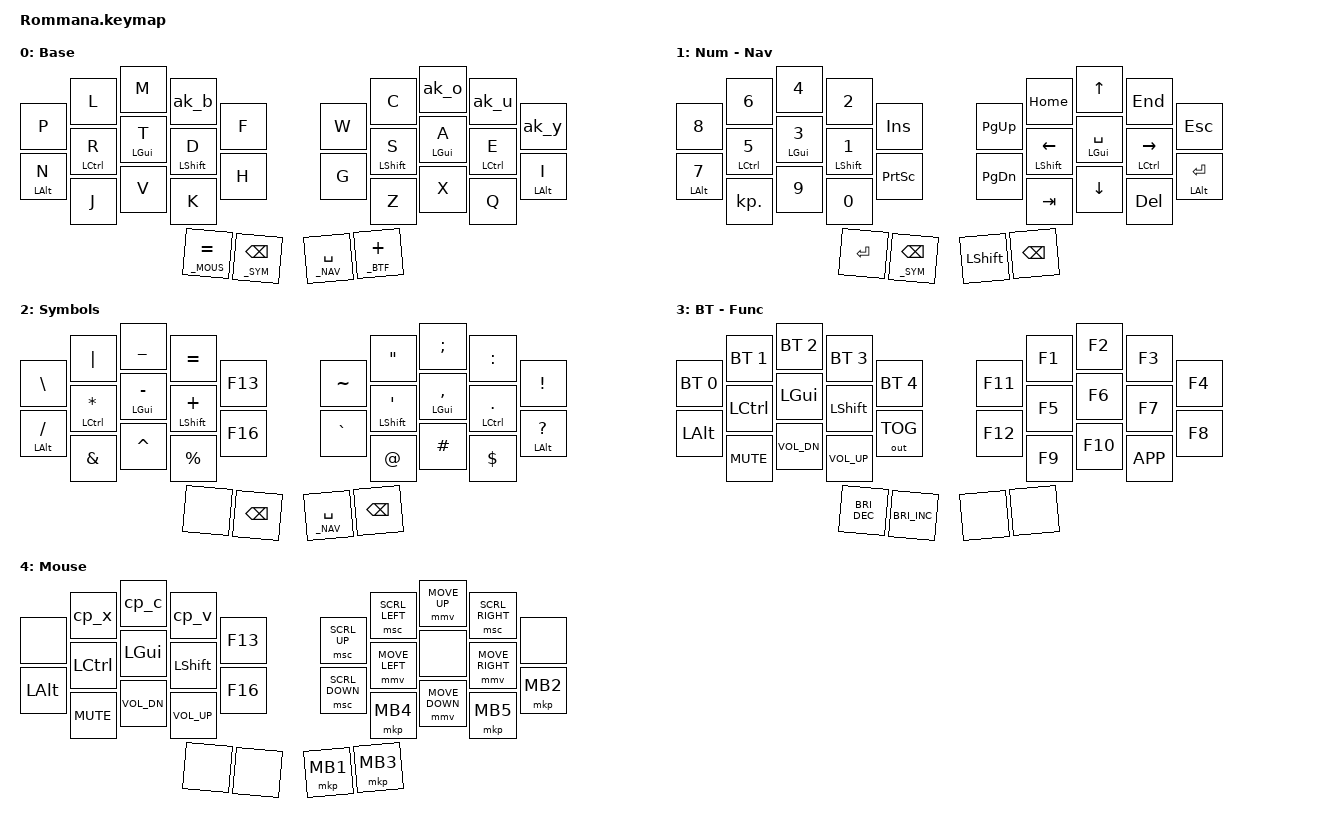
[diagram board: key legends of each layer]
/*
 * Copyright (c) 2021 The ZMK Contributors
 *
 * SPDX-License-Identifier: MIT
 */

#include <behaviors.dtsi>
#include <dt-bindings/zmk/keys.h>
#include <dt-bindings/zmk/bt.h>
#include <dt-bindings/zmk/outputs.h>

#define ZMK_POINTING_DEFAULT_MOVE_VAL 1500  // default: 600
#define ZMK_POINTING_DEFAULT_SCRL_VAL 20    // default: 10
#include <dt-bindings/zmk/pointing.h>
#include "keypos_30keys.h"
#include <dt-bindings/zmk/mouse.h>

#define _BASE    0
#define _NAV     1
#define _SYM     2
#define _BTF     3
#define _MOUS    4

/ {
// ------------------------- MACROS --------------------------------
    macros {
        // muc_the: macro_uc_the {
        //     compatible = "zmk,behavior-macro";
        //     #binding-cells = <0>;
        //     wait-ms = <0>;
        //     tap-ms = <5>;
        //     bindings
        //         = <&kp LS(T)>
        //         , <&kp H>
        //         , <&kp E>
        //         ;
        // };

        // mlc_the: macro_lc_the {
        //     compatible = "zmk,behavior-macro";
        //     #binding-cells = <0>;
        //     wait-ms = <0>;
        //     tap-ms = <5>;
        //     bindings
        //         = <&kp T>
        //         , <&kp H>
        //         , <&kp E>
        //         ;
        // };

        // muc_you: macro_uc_you {
        //     compatible = "zmk,behavior-macro";
        //     #binding-cells = <0>;
        //     wait-ms = <0>;
        //     tap-ms = <5>;
        //     bindings
        //         = <&kp LS(Y)>
        //         , <&kp O>
        //         , <&kp U>
        //         ;
        // };

        // mlc_ou: macro_ou {
        //     compatible = "zmk,behavior-macro";
        //     #binding-cells = <0>;
        //     wait-ms = <0>;
        //     tap-ms = <5>;
        //     bindings
        //         = <&kp O>
        //         , <&kp U>
        //         ;
        // };

        mlc_qu: macro_lc_qu {
            compatible = "zmk,behavior-macro";
            #binding-cells = <0>;
            wait-ms = <0>;
            tap-ms = <5>;
            bindings
                = <&kp Q>
                , <&kp U>
                ;
        };

        // mlc_qua: macro_lc_qua {
        //     compatible = "zmk,behavior-macro";
        //     #binding-cells = <0>;
        //     wait-ms = <0>;
        //     tap-ms = <5>;
        //     bindings
        //         = <&kp Q>
        //         , <&kp U>
        //         , <&kp A>
        //         ;
        // };

        // mlc_th: macro_lc_th {
        //     compatible = "zmk,behavior-macro";
        //     #binding-cells = <0>;
        //     wait-ms = <0>;
        //     tap-ms = <5>;
        //     bindings
        //         = <&kp T>
        //         , <&kp H>
        //         ;
        // };

        // mlc_mpl: macro_lc_mpl {
        //     compatible = "zmk,behavior-macro";
        //     #binding-cells = <0>;
        //     wait-ms = <0>;
        //     tap-ms = <5>;
        //     bindings
        //         = <&kp M>
        //         , <&kp P>
        //         , <&kp L>
        //         ;
        // };
    };

    combos {
        compatible = "zmk,combos";
// ------------------------- LAYER COMBOS --------------------------------
        // combo_BOOT {
        //     timeout-ms = <50>;
        //     key-positions = <LMC LTC>;
        //     bindings = <&bootloader>;
        //     layers = <_BTF>;
        // };

        combo_BTF {
            timeout-ms = <50>;
            key-positions = <LHI RHI>;
            bindings = <&mo _BTF>;
            layers = <_BASE _SYM _NAV>;
        };

        // combo_BTF2 {
        //     timeout-ms = <50>;
        //     key-positions = <LHI LHO>;
        //     bindings = <&mo _BTF>;
        //     layers = <_BASE _SYM _NAV>;
        // };

        // combo_BTF3 {
        //     timeout-ms = <50>;
        //     key-positions = <RHO RHI>;
        //     bindings = <&mo _BTF>;
        //     layers = <_BASE _SYM _NAV>;
        // };

        combo_BTCLR {
            timeout-ms = <50>;
            key-positions = <LBR LBM LBI>;
            bindings = <&bt BT_CLR>;
            layers = <_BTF>;
        };

        // combo_NAVR {
        //     timeout-ms = <50>;
        //     require-prior-idle-ms = <300>;
        //     key-positions = <RMI RMM RMR>;
        //     bindings = <&tog _NAV>;
        //     layers = <_BASE _SYM _NAV>;
        // };

        // combo_NAVL {
        //     timeout-ms = <50>;
        //     require-prior-idle-ms = <300>;
        //     key-positions = <LMI LMM LMR>;
        //     bindings = <&tog _NAV>;
        //     layers = <_BASE _SYM _NAV>;
        // };

// ------------------------- MODS COMBOS --------------------------------
        combo_CAPS {
            timeout-ms = <50>;
            key-positions = <LTI RTI>;
            bindings = <&caps_word>;
            require-prior-idle-ms = <200>;
            layers = <_BASE>;
        };

// ------------------------- CHARACTER COMBOS --------------------------------
        // combo_MPL {
        //     timeout-ms = <200>;
        //     key-positions = <LTP LTR LTM>;
        //     bindings = <&mlc_mpl>;
        //     layers = <_BASE>;
        // };

        // combo_OU {
        //     timeout-ms = <250>;
        //     key-positions = <RTM RTR>;
        //     bindings = <&mlc_ou>;
        //     layers = <_BASE>;
        // };

        combo_QU {
            timeout-ms = <300>;
            key-positions =<RBM RBI>;
            bindings = <&mlc_qu>;
            layers = <_BASE>;
        };

        // combo_QUA {
        //     timeout-ms = <200>;
        //     key-positions =<RBM RBI RBR>;
        //     bindings = <&mlc_qua>;
        //     layers = <_BASE>;
        // };

        // combo_TH {
        //     timeout-ms = <185>;
        //     key-positions =<LMM LMI>;
        //     bindings = <&mlc_th>;
        //     layers = <_BASE>;
        // };

        // combo_ING {
        //     timeout-ms = <100>;
        //     key-positions = <RMI RMM RMR>;
        //     bindings = <&mlc_ing>;
        //     layers = <_BASE>;
        // };

// ------------------------- SYMBOL COMBOS --------------------------------
        combo_LPAR {
            timeout-ms = <50>;
            require-prior-idle-ms = <200>;
            key-positions = <LHI LMI>;
            bindings = <&kp LPAR>;
            layers = <_BASE _SYM>;
        };

        combo_RPAR {
            timeout-ms = <50>;
            require-prior-idle-ms = <200>;
            key-positions = <RMI RHI>;
            bindings = <&kp RPAR>;
            layers = <_BASE _SYM>;
        };

        combo_LBRC {
            timeout-ms = <50>;
            require-prior-idle-ms = <200>;
            key-positions = <LMR LHI>;
            bindings = <&kp LBRC>;
            layers = <_BASE _SYM>;
        };

        combo_RBRC {
            timeout-ms = <50>;
            require-prior-idle-ms = <200>;
            key-positions = <RHI RMR>;
            bindings = <&kp RBRC>;
            layers = <_BASE _SYM>;
        };

        combo_LBKT {
            timeout-ms = <50>;
            require-prior-idle-ms = <200>;
            key-positions = <LMM LHI>;
            bindings = <&kp LBKT>;
            layers = <_BASE _SYM>;
        };

        combo_RBKT {
            timeout-ms = <50>;
            require-prior-idle-ms = <200>;
            key-positions = <RHI RMM>;
            bindings = <&kp RBKT>;
            layers = <_BASE _SYM>;
        };

        combo_GT {
            timeout-ms = <50>;
            require-prior-idle-ms = <200>;
            key-positions = <RMP RHI>;
            bindings = <&kp GT>;
            layers = <_BASE _SYM>;
        };

        combo_LT {
            timeout-ms = <50>;
            require-prior-idle-ms = <200>;
            key-positions = <LMP LHI>;
            bindings = <&kp LT>;
            layers = <_BASE _SYM>;
        };

// ------------------------- UTILITY COMBOS --------------------------------
        combo_UNLCK {
            timeout-ms = <40>;
            key-positions = <LMC RMC>;
            bindings = <&studio_unlock>;
            layers = <_BASE>;
            require-prior-idle-ms = <200>;
        };
        
    };

    behaviors {
// ----------------------- ADAPTIVE-KEYS ------------------------------- 
        ak_d: ak_d {
            compatible = "zmk,behavior-adaptive-key";
            #binding-cells = <0>;
            bindings = <&kp D>;

            akt_th { trigger-keys = <T>; max-prior-idle-ms = <250>; bindings = <&kp H>; };
            akt_bh { trigger-keys = <B>; max-prior-idle-ms = <300>; bindings = <&kp H>; };
            akt_ph { trigger-keys = <P>; max-prior-idle-ms = <300>; bindings = <&kp H>; };
            akt_ch { trigger-keys = <C>; max-prior-idle-ms = <300>; bindings = <&kp H>; };
            akt_wh { trigger-keys = <W>; max-prior-idle-ms = <300>; bindings = <&kp H>; };
            akt_sh { trigger-keys = <S>; max-prior-idle-ms = <300>; bindings = <&kp H>; };
            akt_gh { trigger-keys = <G>; max-prior-idle-ms = <300>; bindings = <&kp H>; };
        };

        ak_b: ak_b {
            compatible = "zmk,behavior-adaptive-key";
            #binding-cells = <0>;
            bindings = <&kp B>;

            akt_sc { trigger-keys = <S>; max-prior-idle-ms = <300>; bindings = <&kp C>; };
            akt_pr { trigger-keys = <P>; max-prior-idle-ms = <300>; bindings = <&kp R>; };
            akt_tr { trigger-keys = <T>; max-prior-idle-ms = <300>; bindings = <&kp R>; };
        };

        ak_r: ak_r {
            compatible = "zmk,behavior-adaptive-key";
            #binding-cells = <0>;
            bindings = <&kp R>;

            akt_ng { trigger-keys = <N>; max-prior-idle-ms = <300>; bindings = <&kp G>; };
        };

        ak_o: ak_o {
            compatible = "zmk,behavior-adaptive-key";
            #binding-cells = <0>;
            bindings = <&kp O>;

            akt_uo { trigger-keys = <U>; max-prior-idle-ms = <125>; bindings = <&kp 0>; };
        };

        ak_u: ak_u {
            compatible = "zmk,behavior-adaptive-key";
            #binding-cells = <0>;
            bindings = <&kp U>;

            akt_you { trigger-keys = <Y>; max-prior-idle-ms = <300>; bindings = <&kp O &kp U>; };
        };

        ak_y: ak_y {
            compatible = "zmk,behavior-adaptive-key";
            #binding-cells = <0>;
            bindings = <&kp Y>;

            akt_ue { trigger-keys = <U>; max-prior-idle-ms = <300>; bindings = <&kp E>; };
        };

        // ak_z: ak_z {
        //     compatible = "zmk,behavior-adaptive-key";
        //     #binding-cells = <0>;
        //     bindings = <&kp Z>;

        //     akt_tv { trigger-keys = <T>; max-prior-idle-ms = <300>; bindings = <&kp V>; };
        // };

// ------------------------- TAP-DANCES --------------------------------
        cp_c: cp_c {
            compatible = "zmk,behavior-tap-dance";
            #binding-cells = <0>;
            tapping-term-ms = <400>;
            bindings = <&kp LC(C)>, <&kp LG(C)>;
        };

        cp_v: cp_v {
            compatible = "zmk,behavior-tap-dance";
            #binding-cells = <0>;
            tapping-term-ms = <400>;
            bindings = <&kp LC(V)>, <&kp LG(V)>;
        };

        cp_x: cp_x {
            compatible = "zmk,behavior-tap-dance";
            #binding-cells = <0>;
            tapping-term-ms = <400>;
            bindings = <&kp LC(X)>, <&kp LG(X)>;
        };

// ------------------------- HOLD-TAPS --------------------------------
        /* left-hand HRMs */
        hml: hrm_left {
            compatible = "zmk,behavior-hold-tap";
            #binding-cells = <2>;
            flavor = "balanced";
            tapping-term-ms = <300>;
            quick-tap-ms = <170>;                // repeat on tap-into-hold
            require-prior-idle-ms = <300>;
            bindings = <&kp>, <&kp>;
            hold-trigger-key-positions = <KEYS_R THUMBS>;
            hold-trigger-on-release;             // delay positional check until key-release
        };

        /* right-hand HRMs */
        hmr: hrm_right {
            compatible = "zmk,behavior-hold-tap";
            #binding-cells = <2>;
            flavor = "balanced";
            tapping-term-ms = <300>;
            quick-tap-ms = <170>;                // repeat on tap-into-hold
            require-prior-idle-ms = <300>;
            bindings = <&kp>, <&kp>;
            hold-trigger-key-positions = <KEYS_L THUMBS>;
            hold-trigger-on-release;             // delay positional check until key-release
        };

        rml: akr_left {
            compatible = "zmk,behavior-hold-tap";
            #binding-cells = <2>;
            flavor = "balanced";
            tapping-term-ms = <300>;
            quick-tap-ms = <170>;                // repeat on tap-into-hold
            require-prior-idle-ms = <250>;
            bindings = <&kp>, <&ak_r>;
            hold-trigger-key-positions = <KEYS_R THUMBS>;
            hold-trigger-on-release;             // delay positional check until key-release
        };

        asl: aks_left {
            compatible = "zmk,behavior-hold-tap";
            #binding-cells = <2>;
            flavor = "balanced";
            tapping-term-ms = <250>;
            quick-tap-ms = <170>;                // repeat on tap-into-hold
            require-prior-idle-ms = <120>;
            bindings = <&kp>, <&ak_d>;
            hold-trigger-key-positions = <KEYS_R THUMBS>;
            hold-trigger-on-release;             // delay positional check until key-release
        };

        hsl: hrs_left {
            compatible = "zmk,behavior-hold-tap";
            #binding-cells = <2>;
            flavor = "balanced";
            tapping-term-ms = <250>;
            quick-tap-ms = <170>;                // repeat on tap-into-hold
            require-prior-idle-ms = <120>;
            bindings = <&kp>, <&kp>;
            hold-trigger-key-positions = <KEYS_R THUMBS>;
            hold-trigger-on-release;             // delay positional check until key-release
        };

        hsr: hrs_right {
            compatible = "zmk,behavior-hold-tap";
            #binding-cells = <2>;
            flavor = "balanced";
            tapping-term-ms = <250>;
            quick-tap-ms = <170>;                // repeat on tap-into-hold
            require-prior-idle-ms = <120>;
            bindings = <&kp>, <&kp>;
            hold-trigger-key-positions = <KEYS_L THUMBS>;
            hold-trigger-on-release;             // delay positional check until key-release
        };

        bst: backspace-tap {
            compatible = "zmk,behavior-hold-tap";
            #binding-cells = <2>;
            flavor = "balanced";
            tapping-term-ms = <300>;
            quick-tap-ms = <170>;
            //require-prior-idle-ms = <100>;
            bindings = <&mo>, <&kp>;
        };

        spt: space-tap {
            compatible = "zmk,behavior-hold-tap";
            #binding-cells = <2>;
            flavor = "balanced";
            tapping-term-ms = <300>;
            quick-tap-ms = <170>;
            // require-prior-idle-ms = <120>;
            bindings = <&mo>, <&kp>;
        };

// ------------------------- MOD-MORPHS --------------------------------
        // mm_you: mm_you {
        //     compatible = "zmk,behavior-mod-morph";
        //     #binding-cells = <0>;
        //     bindings = <&mlc_you>, <&muc_you>;
        //     mods = <(MOD_LSFT)>;
        // };

        // mm_the: mm_the {
        //     compatible = "zmk,behavior-mod-morph";
        //     #binding-cells = <0>;
        //     bindings = <&mlc_the>, <&muc_the>;
        //     mods = <(MOD_LSFT)>;
        // };
    };

    keymap {
        compatible = "zmk,keymap";

                base_layer {
                    display-name = "Base";
// -------------------------------    -------------------------------
// |  P  |  L  |  M  |  B  |  F  |    |  W  |  C  |  O  |  U  |  Y  |
// |  N  |  R  |  T  |  D  |  H  |    |  G  |  S  |  A  |  E  |  I  |
//       |  J  |  V  |  K  |                |  Z  |  X  |  Q  |
//        | _NAV(=) | _SYM(BSPC) |    | _NAV(SPC) | _SYM(+) |
                        bindings = <
   &kp P        &kp L        &kp M       &ak_b        &kp F           &kp W  &kp C        &ak_o       &ak_u        &ak_y
   &hml LALT N  &rml LCTRL R &hml LGUI T &asl LSHFT D &kp H           &kp G  &hsr LSHFT S &hmr LGUI A &hmr LCTRL E &hmr LALT I 
                &kp J        &kp V       &kp K                               &kp Z        &kp X       &kp Q
                                     &bst _MOUS EQUAL  &bst _SYM BSPC  &spt _NAV SPACE  &spt _BTF PLUS
                        >;
                };

                nav_layer {
                    display-name = "Num - Nav";
// -------------------------------    ---------------------------------
// |  8  |  6  |  4  |  2  | INS |    | pUP | HOME |  UP | END  | ESC |
// |  7  |  5  |  3  |  1  | PSC |    | pDN | LEFT | SPC | RGHT | RET |
//       | . , |  9  |  0  |                | TAB  |  DN | DEL  |
//                  | RET | BSPC |    | LSFT | BSPC |
                        bindings = <
   &kp N8        &kp N6        &kp N4       &kp N2        &kp INS         &kp PG_UP  &kp HOME        &kp UP          &kp END          &kp ESC
   &hml LALT N7  &hml LCTRL N5 &hml LGUI N3 &hsl LSHFT N1 &kp PSCRN       &kp PG_DN  &hsr LSHFT LEFT &hmr LGUI SPACE &hmr LCTRL RIGHT &hmr LALT RET
                 &kp KP_DOT    &kp N9       &kp N0                                   &kp TAB         &kp DOWN        &kp DEL
                                                &kp RET   &bst _SYM BSPC  &kp LSHFT  &kp BSPC
                        >;
                };
                
                sym_layer {
                    display-name = "Symbols";
// -------------------------------    -------------------------------
// |  \  |  |  |  _  |  =  | F13 |    |  ~  |  "  |  ;  |  :  |  !  |
// |  /  |  *  |  -  |  +  | F16 |    |  `  |  '  |  ,  |  .  |  ?  |
//       |  &  |  ^  |  %  |                |  @  |  #  |  $  |
//                  |     | BSPC |    | SPC | BSPC |
                        bindings = <
   &kp BSLH        &kp PIPE        &kp UNDER       &kp EQUAL       &kp F13       &kp TILDE &kp DQT        &kp SEMI        &kp COLON      &kp EXCL
   &hml LALT SLASH &hml LCTRL STAR &hml LGUI MINUS &hsl LSHFT PLUS &kp F16       &kp GRAVE &hsr LSHFT SQT &hmr LGUI COMMA &hmr LCTRL DOT &hmr LALT QMARK
                   &kp AMPS        &kp CARET       &kp PRCNT                               &kp AT         &kp HASH        &kp DLLR
                                                          &none    &kp BSPC      &spt _NAV SPACE  &kp BSPC
                        >;
                };

                btf_layer {
                    display-name = "BT - Func";
// -------------------------------    -----------------------------
// | BT1 | BT2 | BT3 | BT4 | BT5 |    | F11 | F1 | F2  | F3  | F4 |
// | ALT | CTL | GUI | SFT | USB |    | F12 | F5 | F6  | F7  | F8 |
//       |  v. |  v- |  v+ |                | F9 | F10 | APP |
//                   | BR- | BR+ |    |     |     |
                        bindings = <
   &bt BT_SEL 0 &bt BT_SEL 1 &bt BT_SEL 2 &bt BT_SEL 3 &bt BT_SEL 4   &kp F11 &kp F1  &kp F2  &kp F3    &kp F4
   &kp LALT     &kp LCTRL    &kp LGUI     &kp LSHFT    &out OUT_TOG   &kp F12 &kp F5  &kp F6  &kp F7    &kp F8
                &kp C_MUTE   &kp C_VOL_DN &kp C_VOL_UP                        &kp F9  &kp F10 &kp K_APP
                                        &kp C_BRI_DEC &kp C_BRI_INC   &none   &none
                        >;
                };

                mouse_layer {
                    display-name = "Mouse";
// -------------------------------    ---------------------------------------
// |     | cut | cpy | pst | F13 |    | SCup | SCleft |  Mup  | SCrght |     |
// | ALT | CTL | GUI | SFT | F16 |    | SCdn | Mleft  |       | Mrght  | B2  |
//       |  v. |  v- |  v+ |                 |   B4   | Mdown |   B5   |
//                   |     |     |    |  B1  | B3 |
                        bindings = <
   &none    &cp_x      &cp_c        &cp_v        &kp F13   &msc SCRL_UP   &msc SCRL_LEFT &mmv MOVE_UP   &msc SCRL_RIGHT &none
   &kp LALT &kp LCTRL  &kp LGUI     &kp LSHIFT   &kp F16   &msc SCRL_DOWN &mmv MOVE_LEFT &none          &mmv MOVE_RIGHT &mkp MB2
            &kp C_MUTE &kp C_VOL_DN &kp C_VOL_UP                          &mkp MB4       &mmv MOVE_DOWN &mkp MB5
                                        &none    &none     &mkp MB1    &mkp MB3
                        >;
                };

                extra1 {
                        status = "reserved";
                };

                extra2 {
                        status = "reserved";
                };
    };
};
